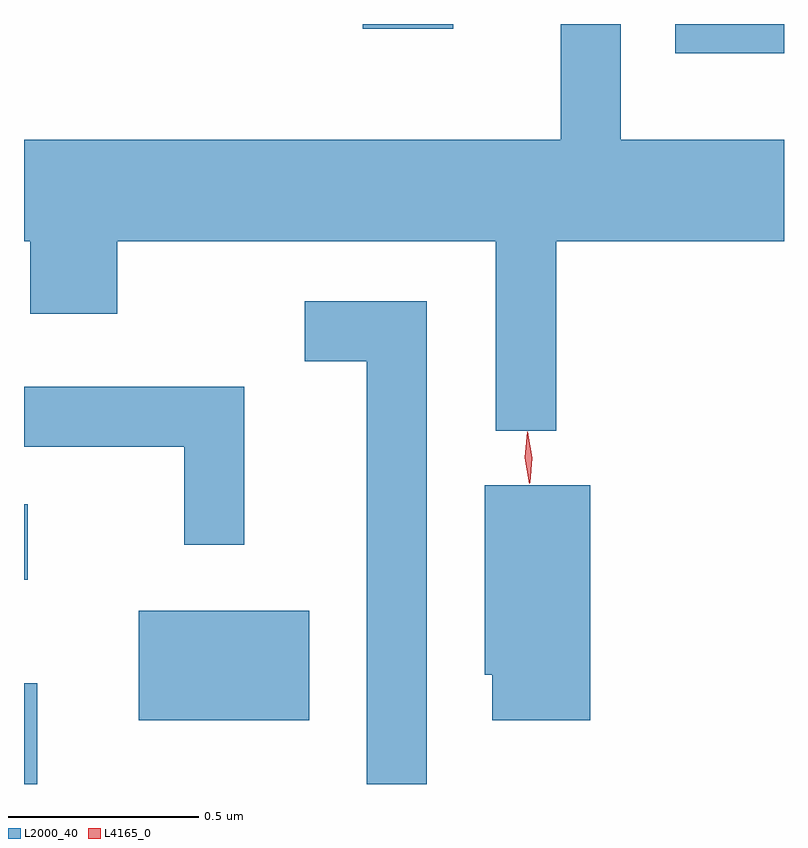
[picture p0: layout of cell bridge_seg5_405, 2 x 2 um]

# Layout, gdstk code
import gdstk
lib = gdstk.Library(unit=1e-6, precision=1e-09)
def R(c, l, rs):  # rectangles x0, y0, x1, y1
    for r in rs: c.add(gdstk.rectangle(r[:2], r[2:], *l))
def P(c, l, *ps):  # polygons
    for p in ps: c.add(gdstk.Polygon(p, *l))
L2000_40 = (2000, 40)
L4165_0 = (4165, 0)

bridge_seg5_405 = lib.new_cell('bridge_seg5_405')
R(bridge_seg5_405, L2000_40, [(530.014,1473.128,530.049,1473.393), (530.316,1473.296,530.764,1473.584), (530.014,1473.666,530.024,1473.864), (531.728,1475.051,532.014,1475.128), (530.906,1475.116,531.144,1475.128)])
P(bridge_seg5_405, L2000_40, [(531.414,1474.556),(532.014,1474.556),(532.014,1474.824),(531.584,1474.824),(531.584,1475.128),(531.426,1475.128),(531.426,1474.824),(530.014,1474.824),(530.014,1474.556),(530.031,1474.556),(530.031,1474.366),(530.259,1474.366),(530.259,1474.556),(531.256,1474.556),(531.256,1474.058),(531.414,1474.058)],
  [(531.074,1474.399),(530.753,1474.399),(530.753,1474.241),(530.916,1474.241),(530.916,1473.128),(531.074,1473.128)],
  [(530.594,1474.174),(530.014,1474.174),(530.014,1474.016),(530.436,1474.016),(530.436,1473.758),(530.594,1473.758)],
  [(531.504,1473.914),(531.226,1473.914),(531.226,1473.416),(531.246,1473.416),(531.246,1473.296),(531.504,1473.296)])
P(bridge_seg5_405, L4165_0, [(531.344,1473.918),(531.344,1473.918),(531.332,1473.986),(531.338,1474.055),(531.339,1474.055),(531.339,1474.055),(531.351,1473.987),(531.344,1473.918)],
  [(531.345,1473.92),(531.344,1473.921),(531.332,1473.986),(531.338,1474.051),(531.339,1474.052),(531.339,1474.051),(531.352,1473.987),(531.346,1473.921)])

lib.write_gds('bridge_seg5_405.gds')
